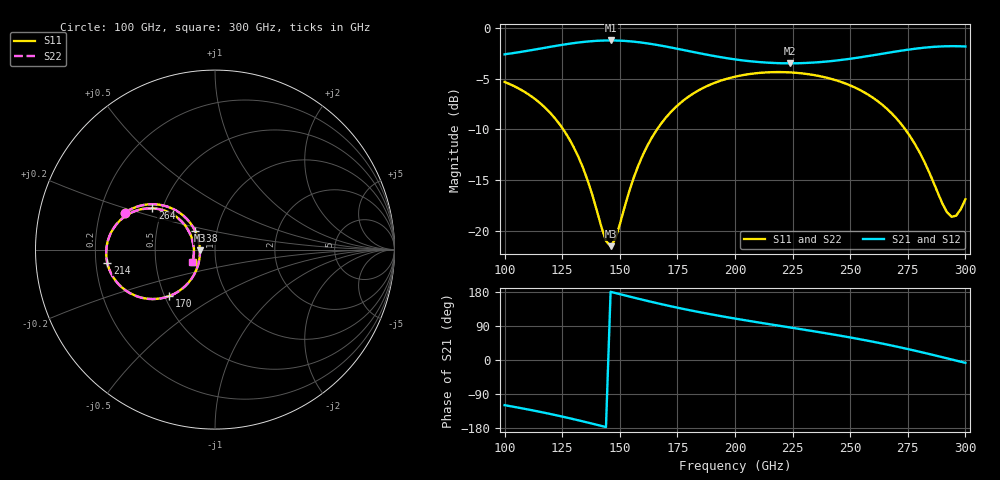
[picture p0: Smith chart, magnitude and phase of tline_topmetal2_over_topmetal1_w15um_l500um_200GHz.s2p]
#  GHZ S DB R 50
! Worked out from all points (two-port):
!   101 points, 100 GHz to 300 GHz, reference 50 ohm
!   highest |S21| = -1.22 dB at 146 GHz (marker M1); lowest = -3.5 dB at 224 GHz (marker M2)
!   |S21| within 3 dB of the highest: start of sweep to end of sweep
!   lowest |S11| = -21.5 dB at 146 GHz (marker M3), VSWR 1.18, Z = 42.3 - j0.421 ohm
!   |S11| at or under -10 dB: 125.5 GHz to 166.1 GHz (40.68 GHz wide, 27.9 % of centre); 273.9 GHz to end of sweep
!   |S22| runs from -21.5 to -4.3 dB; largest |S21 - S12| = 8.8e-14
!   S11 on the Smith chart (normalised r, x): 100 GHz: 0.31, +0.18; 138 GHz: 0.79, +0.17; 170 GHz: 0.53, -0.32; 214 GHz: 0.25, -0.06; 264 GHz: 0.44, +0.25; 300 GHz: 0.77, -0.11
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100  -5.32 157.7  -2.59 -119.2  -2.59 -119.2  -5.32 157.7
120  -8.41 139.6  -1.85 -142.7  -1.85 -142.7  -8.42 139.6
134  -13.77 132.8  -1.38 -162.0  -1.38 -162.0  -13.77 132.8
138  -16.40 136.8  -1.29 -167.9  -1.29 -167.9  -16.41 136.8
144  -20.99 164.9  -1.23 -177.0  -1.23 -177.0  -21.02 164.9
146  -21.51 -176.6  -1.22 179.9  -1.22 179.9  -21.54 -176.6
148  -20.82 -158.6  -1.23 176.9  -1.23 176.9  -20.85 -158.4
158  -13.57 -128.9  -1.39 161.8  -1.39 161.8  -13.58 -128.7
168  -9.40 -132.9  -1.74 147.4  -1.74 147.4  -9.40 -132.8
170  -8.83 -134.5  -1.82 144.7  -1.82 144.7  -8.83 -134.4
184  -6.17 -147.1  -2.46 127.0  -2.46 127.0  -6.17 -147.0
200  -4.80 -161.5  -3.09 109.4  -3.09 109.4  -4.80 -161.4
214  -4.37 -173.2  -3.41 95.4  -3.41 95.4  -4.37 -173.1
224  -4.37 178.8  -3.48 85.8  -3.48 85.8  -4.37 178.9
234  -4.63 170.7  -3.40 76.0  -3.40 76.0  -4.62 170.9
250  -5.66 157.7  -3.03 59.5  -3.03 59.5  -5.66 157.9
264  -7.58 146.5  -2.53 43.2  -2.53 43.2  -7.57 146.7
268  -8.41 143.7  -2.38 38.2  -2.38 38.2  -8.41 143.9
280  -12.21 139.6  -1.99 21.9  -1.99 21.9  -12.19 140.0
292  -18.16 166.4  -1.79 4.4  -1.79 4.4  -18.07 166.7
296  -18.49 -169.7  -1.79 -1.6  -1.79 -1.6  -18.40 -169.8
300  -16.89 -150.3  -1.82 -7.5  -1.82 -7.5  -16.82 -150.5
